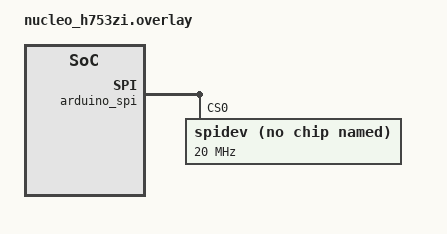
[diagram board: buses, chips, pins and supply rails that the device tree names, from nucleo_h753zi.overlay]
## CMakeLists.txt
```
# CMakeLists.txt for stm32h753zi_stepper Zephyr application
cmake_minimum_required(VERSION 3.20.0)

# Add both device tree overlay files for the build
set(DTC_OVERLAY_FILE 
    ${CMAKE_CURRENT_SOURCE_DIR}/nucleo_h753zi.overlay 
    ${CMAKE_CURRENT_SOURCE_DIR}/fstab.overlay
)

find_package(Zephyr REQUIRED HINTS $ENV{ZEPHYR_BASE})
project(stm32h753zi_stepper)

zephyr_include_directories(${CMAKE_CURRENT_SOURCE_DIR})
zephyr_link_libraries_ifdef(CONFIG_STEPPER_STATUS_POLL app)
find_program(PYTHON3_EXECUTABLE python3)
if(NOT PYTHON3_EXECUTABLE)
	message(FATAL_ERROR "python3 not found")
endif()

set(STEPPER_YML ${CMAKE_SOURCE_DIR}/stepper_models.yml)
# Validate YAML before code generation
add_custom_command(
	OUTPUT ${CMAKE_SOURCE_DIR}/build/generated/.models_valid
	COMMAND ${PYTHON3_EXECUTABLE} ${CMAKE_SOURCE_DIR}/scripts/validate_stepper_models.py ${STEPPER_YML}
	COMMAND ${CMAKE_COMMAND} -E touch ${CMAKE_SOURCE_DIR}/build/generated/.models_valid
	DEPENDS ${STEPPER_YML} ${CMAKE_SOURCE_DIR}/scripts/validate_stepper_models.py
	COMMENT "Validating stepper models YAML"
)
# Place generated files in the app-local build directory so unit/test builds
# and top-level builds both find the file at: <app-root>/build/generated
set(STEPPER_OUT ${CMAKE_SOURCE_DIR}/build/generated/stepper_models_autogen.h)
file(MAKE_DIRECTORY ${CMAKE_SOURCE_DIR}/build/generated)
add_custom_command(
		OUTPUT ${STEPPER_OUT}
		COMMAND ${PYTHON3_EXECUTABLE} ${CMAKE_SOURCE_DIR}/scripts/gen_stepper_models.py ${STEPPER_YML} ${STEPPER_OUT}
		DEPENDS ${CMAKE_SOURCE_DIR}/build/generated/.models_valid ${STEPPER_YML} ${CMAKE_SOURCE_DIR}/scripts/gen_stepper_models.py
		COMMENT "Generating stepper models header"
)
target_include_directories(app PRIVATE ${CMAKE_SOURCE_DIR}/build/generated)

target_sources(app PRIVATE
		src/main.c
		src/l6470.c
		src/shell_stepper.c
		src/persist.c
		src/stepper_models.c
		$<$<BOOL:${CONFIG_STEPPER_STATUS_POLL}>:${CMAKE_CURRENT_SOURCE_DIR}/src/status_poll.c>
		${STEPPER_OUT}
)
```

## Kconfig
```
# Kconfig options for stm32h753zi_stepper application

# Always include Zephyr's global Kconfig so standard symbols are available
source "Kconfig.zephyr"

menu "STM32H753ZI Stepper App"

config STEPPER_STATUS_POLL
    bool "Enable periodic L6470 status polling"
    default n
    help
      When enabled, starts a background worker that polls GET_STATUS from
      each L6470 device at a fixed interval and keeps a small ring buffer
      of the last samples for diagnostics.

config STEPPER_STATUS_POLL_PERIOD_MS
    int "Status poll period (ms)"
    depends on STEPPER_STATUS_POLL
    range 50 5000
    default 200
    help
      Period in milliseconds for the status polling worker.

endmenu
```

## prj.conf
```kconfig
CONFIG_DEBUG_THREAD_INFO=y
CONFIG_THREAD_NAME=y
CONFIG_DEBUG_OPTIMIZATIONS=y
CONFIG_THREAD_STACK_INFO=y
CONFIG_INIT_STACKS=y
CONFIG_USE_SEGGER_RTT=y
CONFIG_LOG_BACKEND_RTT=y
CONFIG_LOG_BACKEND_UART=y
CONFIG_LOG=y
CONFIG_LOG_MODE_DEFERRED=n
CONFIG_LOG_DEFAULT_LEVEL=2
CONFIG_ASSERT=y
CONFIG_DEBUG=y
# Increase main stack; LittleFS format/mount and logging can be deep on H7
CONFIG_MAIN_STACK_SIZE=16384
CONFIG_SERIAL=y
CONFIG_UART_CONSOLE=y
CONFIG_CONSOLE=y
CONFIG_UART_INTERRUPT_DRIVEN=y
CONFIG_PRINTK=y
CONFIG_STDOUT_CONSOLE=y
CONFIG_LOG=y
CONFIG_LOG_DEFAULT_LEVEL=3
CONFIG_SHELL=y
CONFIG_SHELL_BACKEND_SERIAL=y
# Net shell & stats for runtime inspection
CONFIG_NET_SHELL=y
CONFIG_NET_STATISTICS=y
# Networking core
CONFIG_NETWORKING=y
CONFIG_NET_IPV4=y
CONFIG_NET_IPV6=n
CONFIG_NET_UDP=y
CONFIG_NET_TCP=y
CONFIG_NET_DHCPV4=y

# Ethernet driver for STM32
CONFIG_NET_L2_ETHERNET=y
CONFIG_ETH_STM32_HAL=y

# Extra DHCP/NET debug (optional, harmless if optimized out by level)
# CONFIG_NET_DHCPV4_LOG_LEVEL_DBG=y
# CONFIG_NET_LOG_LEVEL_DBG=y

# Memory management
CONFIG_NET_BUF=y
CONFIG_HEAP_MEM_POOL_SIZE=16384
CONFIG_SYS_HEAP_RUNTIME_STATS=y

# Increase critical stack sizes (formatting FS, shell, workqueue can be deep)
CONFIG_MAIN_STACK_SIZE=8192
CONFIG_SHELL_STACK_SIZE=4096
CONFIG_SYSTEM_WORKQUEUE_STACK_SIZE=4096

# Logging for debugging
CONFIG_NET_LOG=y
CONFIG_ETHERNET_LOG_LEVEL_DBG=y

# POSIX socket API support
CONFIG_NET_SOCKETS=y

# GPIO support for LED
CONFIG_GPIO=y

# SPI bus for IHM02A1 (SPI1 on Arduino header)
CONFIG_SPI=y

# Settings backend for on-target persistence of selected model
CONFIG_SETTINGS=y
CONFIG_SETTINGS_FILE=y
# Store settings in LittleFS under storage partition
CONFIG_SETTINGS_FILE_PATH="/lfs/settings/run"
# Disable NVS backend on STM32H7 (128KB erase pages exceed NVS limits)
# to avoid initialization failures in settings_nvs
# (can be re-enabled on targets with <=64KB page size)
CONFIG_SETTINGS_NVS=n
CONFIG_NVS=n
CONFIG_FLASH=y
CONFIG_FLASH_PAGE_LAYOUT=y
CONFIG_FLASH_MAP=y
CONFIG_FLASH_MAP_LABELS=y

# LittleFS persistence (use FMP backend on fixed partition 'storage')
CONFIG_FILE_SYSTEM=y
CONFIG_FILE_SYSTEM_LITTLEFS=y
CONFIG_FS_LITTLEFS_FMP_DEV=y
# Enable mkfs syscall in the app link
CONFIG_APP_LINK_WITH_FS=y
CONFIG_FILE_SYSTEM_MKFS=y
CONFIG_FS_LITTLEFS_READ_SIZE=32
CONFIG_FS_LITTLEFS_PROG_SIZE=32
CONFIG_FS_LITTLEFS_CACHE_SIZE=1024
CONFIG_FS_LITTLEFS_LOOKAHEAD_SIZE=32
# Allow flexible per-file cache sizes when using custom FS config
CONFIG_FS_LITTLEFS_FC_HEAP_SIZE=16384
CONFIG_FS_LOG_LEVEL_OFF=y

# Bump shell and system workqueue stacks to better tolerate FS/logging bursts
CONFIG_SHELL_STACK_SIZE=4096
CONFIG_SYSTEM_WORKQUEUE_STACK_SIZE=4096


# --- Memory diagnostics and safer stacks ---
# Enable system heap runtime statistics (exposes 'kernel heap' shell cmd)
CONFIG_SYS_HEAP_RUNTIME_STATS=y
# Track/measure stack usage and enable k_thread_stack_space_get
CONFIG_INIT_STACKS=y
CONFIG_THREAD_STACK_INFO=y
# Increase critical stacks to prevent overflow during FS format and net init
CONFIG_MAIN_STACK_SIZE=4096
CONFIG_SYSTEM_WORKQUEUE_STACK_SIZE=2048
CONFIG_SHELL_STACK_SIZE=3072
# Allow software reset from application (B1 mapping)
CONFIG_REBOOT=y


# Network management for DHCP events
CONFIG_NET_MGMT=y
CONFIG_NET_MGMT_EVENT=y

# Example: enable the shield Kconfig option (optional helper).
# CONFIG_SHIELD_X_NUCLEO_IHM02A1=y
```

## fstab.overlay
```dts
/* Define LittleFS in fstab but disable automount (manual mounting in persist.c) */

/ {
    zephyr,fstab {
        compatible = "zephyr,fstab";

        lfs {
            compatible = "zephyr,fstab,littlefs";
            mount-point = "/lfs";
            partition = <&app_storage>;
            /* LittleFS geometry (aligned to STM32H7 requirements) */
            read-size = <32>;
            prog-size = <32>;
            cache-size = <1024>;
            /* Lookahead must be a multiple of 8; 32 tracks 256 blocks */
            lookahead-size = <32>;
            /* Wear leveling cycles; -1 disables. Use a typical value. */
            block-cycles = <512>;
            /* Disable automount - we handle mounting manually in persist.c */
            /* automount; */
        };
    };
};
```

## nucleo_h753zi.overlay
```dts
// Device tree overlay for STM32H753ZI stepper application
// The board default configuration already uses USART3 (PD8/PD9) for console
// which is connected to ST-LINK VCP, so no changes needed

/ {
    // No changes needed - using board defaults
};

/* Inline X-NUCLEO-IHM02A1 wiring for SPI1 and control GPIOs */
&arduino_spi {
    status = "okay";
    spidev: spi-device@0 {
        compatible = "zephyr,spidev";
        reg = <0>;
        spi-max-frequency = <20000000>;
        cs-gpios = <&gpiod 14 GPIO_ACTIVE_LOW>;
        status = "okay";
    };
};

/ {
    ihm02a1_cs: ihm02a1-cs {
        gpios = <&gpiod 14 GPIO_ACTIVE_LOW>; /* D10: PD14 */
        status = "okay";
    };
    ihm02a1_flag: ihm02a1-flag {
        gpios = <&gpiog 14 GPIO_ACTIVE_LOW>;  /* D2: PG14 */
        status = "okay";
    };
    ihm02a1_busy: ihm02a1-busy {
        gpios = <&gpioe 13 GPIO_ACTIVE_HIGH>; /* D3: PE13 */
        status = "okay";
    };
    ihm02a1_reset: ihm02a1-reset {
        gpios = <&gpioe 14 GPIO_ACTIVE_LOW>; /* D4: PE14 */
        status = "okay";
    };
};

/*
 * Define an application-specific storage partition placed high in flash.
 * Rationale:
 * - The board's default "storage" partition sits at 0x00020000 (128KB),
 *   which overlaps with our application image when booting from 0x08000000.
 * - LittleFS also requires at least two erase blocks; STM32H7 erase block
 *   is 128KB, so we allocate 256KB (2 blocks) for the FS.
 * - This keeps persistence safe from firmware writes.
 */
&flash0 {
    partitions {
        /* Place app_storage within Bank 0 at 512KB offset
         * to ensure compatibility (Bank 1 may have access restrictions) */
        app_storage: partition@80000 {
            label = "app-storage";
            reg = <0x00080000 0x00080000>; /* 512KB at 0x0008_0000 */
        };
    };
};
```

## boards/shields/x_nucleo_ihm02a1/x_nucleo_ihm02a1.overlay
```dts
/* Local shield overlay for X-NUCLEO-IHM02A1 (L6470 dSPIN, 2x stepper).
 *
 * Wiring (Arduino R3 on Nucleo-H753ZI):
 *   - SPI1: SCK=D13 (PA5), MISO=D12 (PA6), MOSI=D11 (PB5), CS=D10 (PD14)
 *   - FLAG:    D2  (PG14) active low (input)
 *   - BUSY:    D3  (PE13) active high (input)  [BUSY/SYNC]
 *   - STBY/RESET: D4 (PE14) active low (output)
 */

/ {
    chosen {
        /* Keep the board's default console */
        zephyr,console = &usart3;
    };
};

/* The nucleo_h753zi board exposes Arduino aliases:
 *   &arduino_spi -> SPI1 (SCK=D13/PA5, MISO=D12/PA6, MOSI=D11/PB5)
 *   &arduino_header -> GPIO map where D10 is index 16 (PD14)
 */
&arduino_spi {
    status = "okay";
    spidev: spi-device@0 {
        compatible = "zephyr,spidev";
        reg = <0>;
    /* Set for real-time motion control: 20 MHz (L6470 supports up to 10+ MHz, STM32H7 supports much higher). */
    spi-max-frequency = <20000000>;
    /* Provide CS on Arduino D10 (PD14) so the SPI driver can toggle it */
    cs-gpios = <&gpiod 14 GPIO_ACTIVE_LOW>;
        /* If needed after validation, set SPI mode:
         *   spi-cpol; spi-cpha;  // for MODE3
         */
        status = "okay";
    };
};

/* Expose control pins via simple nodes with a 'gpios' property, so the
 * application can fetch them using GPIO_DT_SPEC_GET(DT_NODELABEL(...), gpios)
 */

/ {
    /* Explicit Arduino header pin mappings used by the shield
     * D10: CS  -> PD14
     * D11: MOSI-> PB5  (provided via &arduino_spi)
     * D12: MISO-> PA6  (provided via &arduino_spi)
     * D13: SCK -> PA5  (provided via &arduino_spi)
     */

    ihm02a1_cs: ihm02a1-cs {
        gpios = <&gpiod 14 GPIO_ACTIVE_LOW>; /* D10: PD14 */
        status = "okay";
    };

    ihm02a1_flag: ihm02a1-flag {
        gpios = <&gpiog 14 GPIO_ACTIVE_LOW>;  /* D2: PG14 */
        status = "okay";
    };

    ihm02a1_busy: ihm02a1-busy {
        gpios = <&gpioe 13 GPIO_ACTIVE_HIGH>; /* D3: PE13 */
        status = "okay";
    };

    ihm02a1_reset: ihm02a1-reset {
        gpios = <&gpioe 14 GPIO_ACTIVE_LOW>; /* D4: PE14 */
        status = "okay";
    };

    /* If you prefer, use the `ihm02a1-cs` node above to control a per-device
     * chip-select on D10 (PD14). The node above is active-low.
     */

    /* Note: according to ST UM1964 the shield's VMOT (motor supply) is fed
     * from the shield's external power connector and is not switched by
     * any Arduino header pin. There is no FET/switch on the reference PCB
     * tied to an Arduino GPIO to cut VMOT. If you need programmatic
     * control of VMOT, add an external high-side/low-side switch controlled
     * by a GPIO on the Nucleo and wire that into the shield's VMOT feed.
     */
};
```

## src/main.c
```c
#include <zephyr/net/socket.h>
#include <zephyr/net/net_if.h>
#include <zephyr/net/net_mgmt.h>
#include <zephyr/net/dhcpv4.h>
#include <zephyr/net/ethernet.h>
#include <zephyr/logging/log.h>
#include <zephyr/sys/printk.h>
#include <zephyr/sys/__assert.h>
#include <zephyr/drivers/gpio.h>
#include <zephyr/kernel.h>
#include <zephyr/version.h>
#include <zephyr/drivers/spi.h>
#include "l6470.h"
#include <string.h>
#include "persist.h"

LOG_MODULE_REGISTER(main, LOG_LEVEL_DBG);

#define TCP_PORT 4242
#define STACK_SIZE 2048
#define BUF_SIZE 128

/* SPI frequency for L6470: choose a value supported by STM32H7 SPI and
 * within L6470 datasheet limits. 5 MHz is safe and above the H7 minimum
 * (1.875 MHz), providing good real-time control margin.
 */
#define L6470_SPI_FREQ_HZ 5000000U

// LD1 (Green LED) - typically aliased as led0 in the device tree overlay
#define LED0_NODE DT_ALIAS(led0)
static const struct gpio_dt_spec led = GPIO_DT_SPEC_GET(LED0_NODE, gpios);

/* IHM02A1 control pins (Arduino D2/D3/D4 mapped on this board):
 *  - FLAG:  PG14, active low, input
 *  - BUSY:  PE13, active high, input
 *  - RESET: PE14, active low, output
 */
#if DT_NODE_EXISTS(DT_NODELABEL(gpiog))
#define IHM_FLAG_PORT_NODE   DT_NODELABEL(gpiog)
#define IHM_FLAG_PIN         14
#else
#define IHM_FLAG_PORT_NODE   DT_NODELABEL(gpio0)
#define IHM_FLAG_PIN         0
#endif

#if DT_NODE_EXISTS(DT_NODELABEL(gpioe))
#define IHM_BUSY_PORT_NODE   DT_NODELABEL(gpioe)
#define IHM_BUSY_PIN         13
#define IHM_RESET_PORT_NODE  DT_NODELABEL(gpioe)
#define IHM_RESET_PIN        14
#else
#define IHM_BUSY_PORT_NODE   DT_NODELABEL(gpio0)
#define IHM_BUSY_PIN         1
#define IHM_RESET_PORT_NODE  DT_NODELABEL(gpio0)
#define IHM_RESET_PIN        2
#endif

void heartbeat_thread(void)
{
    static uint32_t heartbeat_count = 0;
    
    if (!device_is_ready(led.port)) {
        printk("ERROR: LED device not ready\n");
        LOG_ERR("LED device not ready");
        return;
    }
    gpio_pin_configure_dt(&led, GPIO_OUTPUT_ACTIVE);
    
    printk("=== LED Heartbeat thread started ===\n");
    LOG_INF("LED heartbeat started");

    while (1) {
        gpio_pin_toggle_dt(&led);
        heartbeat_count++;
        
        // Print heartbeat status every 10 seconds (20 toggles)
        if (heartbeat_count % 20 == 0) {
            printk("Heartbeat: %u (LED toggled %u times)\n", 
                   heartbeat_count / 2, heartbeat_count);
            LOG_DBG("Heartbeat count: %u", heartbeat_count);
        }
        
        k_sleep(K_MSEC(500));
    }
}

K_THREAD_DEFINE(heartbeat_tid, 512, heartbeat_thread, NULL, NULL, NULL, 7, 0, 0);

/* Status poll thread: polls both L6470 devices every 2 seconds and logs decoded status */
void status_poll_thread(void)
{
    uint16_t statuses[L6470_DAISY_SIZE];
    while (1) {
    if (l6470_is_ready() && l6470_get_status_all(statuses) == 0) {
            char s0[64];
            char s1[64];
            strncpy(s0, l6470_decode_status(statuses[0]), sizeof(s0));
            s0[sizeof(s0)-1] = '\0';
            strncpy(s1, l6470_decode_status(statuses[1]), sizeof(s1));
            s1[sizeof(s1)-1] = '\0';
            printk("[L6470 Poll] dev0=%s dev1=%s\n", s0, s1);
            LOG_INF("L6470 poll: dev0=0x%04x dev1=0x%04x", statuses[0], statuses[1]);
        } else {
            LOG_WRN("L6470 poll failed");
        }
        k_sleep(K_SECONDS(2));
    }
}

K_THREAD_DEFINE(status_poll_tid, 768, status_poll_thread, NULL, NULL, NULL, 6, 0, 0);

static struct net_mgmt_event_callback mgmt_cb;
static struct net_mgmt_event_callback link_cb;

static void net_mgmt_event_handler(struct net_mgmt_event_callback *cb,
                                   uint64_t mgmt_event, struct net_if *iface)
{
    if (mgmt_event == NET_EVENT_IPV4_ADDR_ADD) {
        char buf[NET_IPV4_ADDR_LEN];
        struct in_addr *addr = net_if_ipv4_get_global_addr(iface, NET_ADDR_DHCP);
        
        if (addr) {
            net_addr_ntop(AF_INET, addr, buf, sizeof(buf));
            printk("*** Network interface UP - IPv4 address: %s ***\n", buf);
            LOG_INF("IPv4 address assigned: %s", buf);
        }
    } else if (mgmt_event == NET_EVENT_IPV4_ADDR_DEL) {
        printk("*** Network interface DOWN - IPv4 address removed ***\n");
        LOG_INF("IPv4 address removed");
    }
}

static void link_event_handler(struct net_mgmt_event_callback *cb,
                               uint64_t mgmt_event, struct net_if *iface)
{
    if (mgmt_event == NET_EVENT_IF_UP) {
        printk("*** Interface UP (carrier present) ***\n");
        LOG_INF("Interface up");
    } else if (mgmt_event == NET_EVENT_IF_DOWN) {
        printk("*** Interface DOWN (carrier lost) ***\n");
        LOG_WRN("Interface down");
    }
}

static void wait_for_network(void)
{
    struct net_if *iface;
    int timeout = 30; // 30 seconds timeout
    
    printk("=== Initializing Network Interface ===\n");
    
    iface = net_if_get_default();
    if (!iface) {
        printk("ERROR: No network interface available\n");
        LOG_ERR("No network interface available");
        return;
    }
    
    net_mgmt_init_event_callback(&mgmt_cb, net_mgmt_event_handler,
                                 NET_EVENT_IPV4_ADDR_ADD | NET_EVENT_IPV4_ADDR_DEL);
    net_mgmt_add_event_callback(&mgmt_cb);

    /* Monitor interface up/down so we know if the link is up */
    net_mgmt_init_event_callback(&link_cb, link_event_handler,
                                 NET_EVENT_IF_UP | NET_EVENT_IF_DOWN);
    net_mgmt_add_event_callback(&link_cb);
    
    /* Print interface MAC and link state */
    uint8_t mac[6];
    const struct net_linkaddr *ll = net_if_get_link_addr(iface);
    if (ll && ll->len >= 6U) {
        memcpy(mac, ll->addr, 6U);
        printk("Interface MAC: %02x:%02x:%02x:%02x:%02x:%02x\n",
               mac[0], mac[1], mac[2], mac[3], mac[4], mac[5]);
    }
    bool link_up = net_if_is_carrier_ok(iface);
    printk("Ethernet link state: %s\n", link_up ? "UP" : "DOWN");

    /* Make sure the interface is up before starting DHCP */
    if (!net_if_is_up(iface)) {
        printk("Bringing interface up...\n");
        net_if_up(iface);
    }

    printk("Starting DHCP client...\n");
    net_dhcpv4_start(iface);
    
    printk("Waiting for IP address assignment (timeout: %d seconds)...\n", timeout);
    
    while (timeout > 0 && !net_if_ipv4_get_global_addr(iface, NET_ADDR_DHCP)) {
        k_sleep(K_MSEC(1000));
        timeout--;
        if (timeout % 5 == 0) {
            printk("Still waiting for IP address... (%d seconds remaining)\n", timeout);
        }
    }
    
    if (timeout <= 0) {
        printk("WARNING: DHCP timeout - continuing without IP address\n");
        LOG_WRN("DHCP timeout");
    }
}

int main(void)
{
    int ret, server_fd, client_fd;
    struct sockaddr_in addr, client_addr;
    socklen_t addr_len = sizeof(client_addr);
    char rx_buf[BUF_SIZE];

    printk("\n=== STM32H753ZI Zephyr Application Starting ===\n");
    printk("Features: TCP Echo Server, LED Heartbeat, VCP Serial\n");
    printk("Board: Nucleo-H753ZI, Zephyr RTOS\n");
    
    LOG_INF("Application startup complete");

    /* Initialize persistence (LittleFS) */
    int prc = persistence_init();
    if (prc == 0) {
        printk("persistence: initialized OK\n");
        /* quick self-check */
        const char *test_path = "/lfs/persist_test.txt";
        const char test_data[] = "hello-persist";
        size_t out_len = 0;
        if (persistence_write_value(test_path, test_data, sizeof(test_data)) == 0) {
            char buf[32];
            if (persistence_read_value(test_path, buf, sizeof(buf), &out_len) == 0) {
                printk("persistence: read %u bytes: %s\n", (unsigned)out_len, buf);
            } else {
                printk("persistence: read failed\n");
            }
        } else {
            printk("persistence: write failed\n");
        }
    } else {
        printk("persistence: init returned %d\n", prc);
    }

    /* Configure control pins: reset as output, busy/flag as inputs */
    const struct device *gpio_g = NULL;
    const struct device *gpio_e = NULL;
#if DT_NODE_EXISTS(IHM_FLAG_PORT_NODE)
    gpio_g = DEVICE_DT_GET(IHM_FLAG_PORT_NODE);
#endif
#if DT_NODE_EXISTS(IHM_BUSY_PORT_NODE)
    gpio_e = DEVICE_DT_GET(IHM_BUSY_PORT_NODE);
#endif
    if (gpio_e && device_is_ready(gpio_e)) {
        gpio_pin_configure(gpio_e, IHM_RESET_PIN, GPIO_OUTPUT_ACTIVE);
        /* Deassert reset after short delay (active low) */
        k_sleep(K_MSEC(5));
        gpio_pin_set(gpio_e, IHM_RESET_PIN, 1);
        gpio_pin_configure(gpio_e, IHM_BUSY_PIN, GPIO_INPUT);
    }
    if (gpio_g && device_is_ready(gpio_g)) {
        gpio_pin_configure(gpio_g, IHM_FLAG_PIN, GPIO_INPUT);
    }
    
    /* Configure SPI for L6470 daisy-chain */
#if DT_NODE_EXISTS(DT_NODELABEL(spi1))
    const struct device *spi_ctlr = NULL;
#if DT_NODE_EXISTS(DT_NODELABEL(spi1))
    spi_ctlr = DEVICE_DT_GET(DT_NODELABEL(spi1));
#endif
    if (!spi_ctlr || !device_is_ready(spi_ctlr)) {
        LOG_WRN("SPI controller not ready (spi1)");
    } else {
        struct spi_cs_control cs_ctrl = SPI_CS_CONTROL_INIT(DT_NODELABEL(spidev), 2);
        struct spi_config cfg = {
            .frequency = L6470_SPI_FREQ_HZ,
            /* L6470 (dSPIN) uses SPI mode 3 (CPOL=1, CPHA=1) */
            .operation = SPI_OP_MODE_MASTER | SPI_TRANSFER_MSB |
                         SPI_MODE_CPOL | SPI_MODE_CPHA |
                         SPI_WORD_SET(8),
            .slave = 0,
            .cs = cs_ctrl,
        };
        /* Initialize L6470 helper for daisy-chain (2 devices) */
    ret = l6470_init(spi_ctlr, &cfg);
        if (ret == 0) {
            /* Issue a proper reset pulse (active-low) to both drivers */
            (void)l6470_reset_pulse();
            k_sleep(K_MSEC(5));
            uint16_t statuses[2] = {0};
            int sret = l6470_get_status_all(statuses);
            if (sret == 0) {
                printk("L6470 statuses: dev0=0x%04x dev1=0x%04x\n", statuses[0], statuses[1]);
                LOG_INF("L6470 statuses: dev0=0x%04x dev1=0x%04x", statuses[0], statuses[1]);
            } else {
                LOG_WRN("Failed to get daisy-chain statuses: %d", sret);
            }
        } else {
            LOG_WRN("l6470_init failed: %d", ret);
        }
    }
#else
    LOG_WRN("spi1 node not present in DT for this board; skipping L6470 init");
#endif
/* removed stray brace */

    /* Status poll thread is defined at file scope */

    // Wait for network to be ready
    wait_for_network();
    
    printk("\n=== Starting TCP Echo Server on port %d ===\n", TCP_PORT);
    LOG_INF("TCP echo server starting on port %d", TCP_PORT);

    server_fd = zsock_socket(AF_INET, SOCK_STREAM, IPPROTO_TCP);
    if (server_fd < 0) {
        printk("ERROR: Failed to create socket: %d\n", server_fd);
        LOG_ERR("Failed to create socket: %d", server_fd);
        return -1;
    }
    printk("Socket created successfully (fd: %d)\n", server_fd);

    addr.sin_family = AF_INET;
    addr.sin_port = htons(TCP_PORT);
    addr.sin_addr.s_addr = htonl(INADDR_ANY);

    ret = zsock_bind(server_fd, (struct sockaddr *)&addr, sizeof(addr));
    if (ret < 0) {
        printk("ERROR: Bind failed: %d\n", ret);
        LOG_ERR("Bind failed: %d", ret);
        zsock_close(server_fd);
        return -1;
    }
    printk("Socket bound to port %d\n", TCP_PORT);

    ret = zsock_listen(server_fd, 1);
    if (ret < 0) {
        printk("ERROR: Listen failed: %d\n", ret);
        LOG_ERR("Listen failed: %d", ret);
        zsock_close(server_fd);
        return -1;
    }
    printk("Server listening for connections...\n");
    LOG_INF("TCP server ready - waiting for clients");

    while (1) {
        printk("\n--- Waiting for client connection ---\n");
        client_fd = zsock_accept(server_fd, (struct sockaddr *)&client_addr, &addr_len);
        if (client_fd < 0) {
            printk("ERROR: Accept failed: %d\n", client_fd);
            LOG_ERR("Accept failed: %d", client_fd);
            continue;
        }
        
        char client_ip[NET_IPV4_ADDR_LEN];
        net_addr_ntop(AF_INET, &client_addr.sin_addr, client_ip, sizeof(client_ip));
        printk("*** CLIENT CONNECTED from %s:%d ***\n", 
               client_ip, ntohs(client_addr.sin_port));
        LOG_INF("Client connected from %s:%d", client_ip, ntohs(client_addr.sin_port));

        while (1) {
            ret = zsock_recv(client_fd, rx_buf, sizeof(rx_buf), 0);
            if (ret < 0) {
                printk("ERROR: Recv failed: %d\n", ret);
                LOG_ERR("Recv failed: %d", ret);
                break;
            } else if (ret == 0) {
                printk("*** CLIENT DISCONNECTED ***\n");
                LOG_INF("Client disconnected");
                break;
            }
            
            rx_buf[ret] = '\0'; // Null terminate for safe printing
            printk("RX[%d bytes]: %s", ret, rx_buf);
            LOG_DBG("Received %d bytes: %s", ret, rx_buf);

            int sent = zsock_send(client_fd, rx_buf, ret, 0);
            if (sent < 0) {
                printk("ERROR: Send failed: %d\n", sent);
                LOG_ERR("Send failed: %d", sent);
                break;
            }
            printk("TX[%d bytes]: Echo sent\n", sent);
            __ASSERT(sent == ret, "Partial send");
        }
        zsock_close(client_fd);
    }
    zsock_close(server_fd);
    return 0;
}
```

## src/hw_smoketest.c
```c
/* Hardware smoke-test CLI: safe VMOT toggle and status via Zephyr shell
 * Commands:
 *   vmot on
 *   vmot off
 *   vmot toggle
 *   vmot status
 */
#include <zephyr/shell/shell.h>
#include <zephyr/logging/log.h>
#include <zephyr/drivers/gpio.h>
#include <zephyr/devicetree.h>
#include <zephyr/kernel.h>

LOG_MODULE_REGISTER(hw_smoke, LOG_LEVEL_INF);

#define IHM_VMOT_NODE DT_NODELABEL(ihm02a1_vmot_switch)
#if DT_NODE_EXISTS(IHM_VMOT_NODE)
static const struct gpio_dt_spec vmot_spec = GPIO_DT_SPEC_GET(IHM_VMOT_NODE, gpios);
#else
static const struct gpio_dt_spec vmot_spec = { .port = NULL };
#endif

static int cmd_vmot(const struct shell *sh, size_t argc, char **argv)
{
    if (vmot_spec.port == NULL) {
        shell_print(sh, "VMOT control not available in device-tree");
        return -ENOTSUP;
    }
    if (!device_is_ready(vmot_spec.port)) {
        shell_print(sh, "VMOT GPIO not ready");
        return -ENODEV;
    }

    if (argc < 2) {
        shell_print(sh, "usage: vmot <on|off|toggle|status>");
        return -EINVAL;
    }

    if (strcmp(argv[1], "on") == 0) {
        gpio_pin_configure_dt(&vmot_spec, GPIO_OUTPUT_ACTIVE);
        gpio_pin_set_dt(&vmot_spec, 1);
        shell_print(sh, "VMOT enabled");
        return 0;
    } else if (strcmp(argv[1], "off") == 0) {
        gpio_pin_configure_dt(&vmot_spec, GPIO_OUTPUT_ACTIVE);
        gpio_pin_set_dt(&vmot_spec, 0);
        shell_print(sh, "VMOT disabled");
        return 0;
    } else if (strcmp(argv[1], "toggle") == 0) {
        static bool state = false;
        gpio_pin_configure_dt(&vmot_spec, GPIO_OUTPUT_ACTIVE);
        state = !state;
        gpio_pin_set_dt(&vmot_spec, state ? 1 : 0);
        shell_print(sh, "VMOT toggled -> %s", state ? "ON" : "OFF");
        return 0;
    } else if (strcmp(argv[1], "status") == 0) {
        int v = gpio_pin_get_dt(&vmot_spec);
        if (v < 0) {
            shell_print(sh, "VMOT read failed: %d", v);
            return v;
        }
        shell_print(sh, "VMOT is %s", v ? "ON" : "OFF");
        return 0;
    }

    shell_print(sh, "Unknown vmot command: %s", argv[1]);
    return -EINVAL;
}

SHELL_CMD_REGISTER(vmot, NULL, "VMOT control (on|off|toggle|status)", cmd_vmot);
```

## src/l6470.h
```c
/* Minimal L6470 helper for daisy-chain operations (supports 2 devices) */
#ifndef L6470_H_
#define L6470_H_

#include <zephyr/drivers/spi.h>
#include <stdint.h>
#include <stdbool.h>
#include "stepper_models.h"

#define L6470_DAISY_SIZE 2
#define L6470_GET_STATUS 0xD0

/* Frame size used by the driver and tests (opcode + up to 3 parameter bytes) */
#define L6470_FRAME_SIZE 4

/* Common opcodes moved to header so unit tests can reference them */
#define L6470_NOP      0x00
#define L6470_MOVE     0x40
#define L6470_RUN      0x50
#define L6470_SOFTSTOP 0xB0
#define L6470_HARDSTOP 0xB8
#define L6470_SOFTHIZ  0xA0
#define L6470_HARDHIZ  0xA8
/* Positioning and utility opcodes (subset) */
#define L6470_GOTO     0x60    /* GOTO ABS_POS */
#define L6470_GOTO_DIR 0x68    /* GOTO_DIR | dir */
#define L6470_GO_HOME  0x70
#define L6470_GO_MARK  0x78
#define L6470_RESET_POS 0xD8   /* Reset ABS_POS to 0 */
#define L6470_GET_PARAM_BASE 0x20 /* GET_PARAM | param_addr */
#define L6470_GET_PARAM_OP(addr) (uint8_t)(L6470_GET_PARAM_BASE | ((addr) & 0x1F))
#if defined(CONFIG_ZTEST)
/* Test helpers: allow unit tests to substitute a fake spi_transceive and
 * to force the driver into ready state without a real SPI device.
 */
typedef int (*l6470_spi_xfer_t)(const struct device *dev, const struct spi_config *cfg,
								const struct spi_buf_set *tx, struct spi_buf_set *rx);
void l6470_set_spi_xfer(l6470_spi_xfer_t fn);
void l6470_test_force_ready(void);
void l6470_set_power_enabled(bool en);
#endif

/* Common SET_PARAM register opcodes for configuration (subset) */
#define L6470_SET_PARAM_STEP_MODE 0x16
#define L6470_SET_PARAM_KVAL_HOLD 0x09
#define L6470_SET_PARAM_KVAL_RUN  0x0A
#define L6470_SET_PARAM_KVAL_ACC  0x0B
#define L6470_SET_PARAM_KVAL_DEC  0x0C
#define L6470_SET_PARAM_OCD_TH    0x13
#define L6470_SET_PARAM_ACC       0x05 /* 2 bytes */
#define L6470_SET_PARAM_DEC       0x06 /* 2 bytes */
#define L6470_SET_PARAM_MAX_SPEED 0x07 /* 2 bytes */
#define L6470_SET_PARAM_STALL_TH  0x14 /* 1 byte */
/* Parameter addresses for GET_PARAM (subset) */
#define L6470_PARAM_ABS_POS  0x01 /* 22-bit signed */
#define L6470_PARAM_MARK     0x03 /* 22-bit signed */

int l6470_init(const struct device *spi_dev, struct spi_config *cfg);
int l6470_get_status_all(uint16_t status_out[L6470_DAISY_SIZE]);
const char *l6470_decode_status(uint16_t status);
bool l6470_is_ready(void);
/* Hardware reset pulse using RESET GPIO from the shield overlay.
 * Returns 0 on success or negative errno.
 */
int l6470_reset_pulse(void);

/* Motion command stubs - not fully implemented yet. Return -ENOSYS.
 * Device index is 0..L6470_DAISY_SIZE-1.
 */
int l6470_run(uint8_t dev, uint8_t dir, uint32_t speed);
int l6470_move(uint8_t dev, uint8_t dir, uint32_t steps);
/* Absolute positioning helpers (fast wins) */
int l6470_goto(uint8_t dev, uint32_t abs_pos);
int l6470_goto_dir(uint8_t dev, uint8_t dir, uint32_t abs_pos);
int l6470_go_home(uint8_t dev);
int l6470_reset_pos(uint8_t dev);
int l6470_get_abs_pos(uint8_t dev, int32_t *out_pos);
/* Stop/Busy helpers */
int l6470_softstop(uint8_t dev);
int l6470_hardstop(uint8_t dev);
int l6470_is_busy(uint8_t dev, bool *out_busy);
int l6470_wait_while_busy(uint8_t dev, int32_t timeout_ms, int32_t poll_ms);

/* Motion arming / emergency stop */
void l6470_motion_set_armed(bool armed);
bool l6470_motion_is_armed(void);
int l6470_motion_estop(void);

/* Place outputs in Hi-Z: soft or hard. hard=true -> HARDHIZ, hard=false -> SOFTHIZ
 * Returns 0 on success.
 */
int l6470_disable_outputs(uint8_t dev, bool hard);

/* Verbose decoder writes a human-readable description of status into buf
 * Returns number of bytes written (excluding NUL) or negative on error.
 */
int l6470_decode_status_verbose(uint16_t status, char *buf, size_t len);

/* Safety limit accessors (values come from Kconfig defaults or board-specific config) */
uint32_t l6470_get_max_speed_steps_per_sec(void);
uint32_t l6470_get_max_current_ma(void);
uint32_t l6470_get_max_steps_per_command(void);
uint32_t l6470_get_max_microstep(void);
/* Apply a model's L6470 parameters safely to the given device index. */
int l6470_apply_model_params(uint8_t dev, const stepper_model_t *m);

/* Testable helper APIs (pure functions) to build and parse daisy-chain frames.
 * These are safe to call from unit tests and do not touch hardware.
 */
void l6470_pack_run_frames(uint8_t dev, uint8_t dir, uint32_t speed,
						   uint8_t out[L6470_FRAME_SIZE * L6470_DAISY_SIZE]);
void l6470_pack_move_frames(uint8_t dev, uint8_t dir, uint32_t steps,
							uint8_t out[L6470_FRAME_SIZE * L6470_DAISY_SIZE]);
void l6470_pack_get_status_opcodes(uint8_t out[L6470_FRAME_SIZE * L6470_DAISY_SIZE]);
void l6470_parse_status_frames(const uint8_t rx[], uint16_t status_out[L6470_DAISY_SIZE]);

/* Power control for motor supply (enable/disable). Returns 0 on success. */
int l6470_power_enable(void);
int l6470_power_disable(void);
int l6470_power_status(void); /* returns 1 if enabled, 0 if disabled, negative on error */

#endif // L6470_H_
```

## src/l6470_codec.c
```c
#include "l6470_codec.h"
#include <string.h>

void pack_run_frame(uint8_t *tx, size_t tx_len, uint8_t dev, uint8_t dir, uint32_t speed)
{
    size_t frames = L6470_FRAME_SIZE * L6470_DAISY_SIZE;
    if (!tx || tx_len < frames) return;
    size_t base = dev * L6470_FRAME_SIZE;
    tx[base + 0] = L6470_RUN | (dir & 0x1);
    tx[base + 1] = (speed >> 16) & 0x0F;
    tx[base + 2] = (speed >> 8) & 0xFF;
    tx[base + 3] = speed & 0xFF;
}

void pack_move_frame(uint8_t *tx, size_t tx_len, uint8_t dev, uint8_t dir, uint32_t steps)
{
    size_t frames = L6470_FRAME_SIZE * L6470_DAISY_SIZE;
    if (!tx || tx_len < frames) return;
    size_t base = dev * L6470_FRAME_SIZE;
    tx[base + 0] = L6470_MOVE | (dir & 0x1);
    tx[base + 1] = (steps >> 16) & 0x03; /* top bits */
    tx[base + 2] = (steps >> 8) & 0xFF;
    tx[base + 3] = steps & 0xFF;
}

void build_get_status_tx(uint8_t *tx, size_t tx_len)
{
    size_t frames = L6470_FRAME_SIZE * L6470_DAISY_SIZE;
    if (!tx || tx_len < frames) return;
    memset(tx, 0, frames);
    for (int i = 0; i < L6470_DAISY_SIZE; i++) {
        tx[i * L6470_FRAME_SIZE + 0] = 0xD0; /* GET_STATUS opcode */
    }
}

uint16_t parse_status_from_rx(const uint8_t *rx, size_t rx_len, uint8_t dev)
{
    size_t frames = L6470_FRAME_SIZE * L6470_DAISY_SIZE;
    if (!rx || rx_len < frames) return 0;
    size_t base = dev * L6470_FRAME_SIZE;
    return ((uint16_t)rx[base + 1] << 8) | rx[base + 2];
}
```

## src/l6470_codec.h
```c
/* L6470 codec helpers: pure functions to pack RUN/MOVE frames and parse status
 * Designed for unit testing and simulation (no hardware access).
 */
#ifndef L6470_CODEC_H_
#define L6470_CODEC_H_

#include <stdint.h>
#include <stddef.h>

#define L6470_DAISY_SIZE 2
#define L6470_FRAME_SIZE 4

#define L6470_NOP      0x00
#define L6470_MOVE     0x40
#define L6470_RUN      0x50

/* Pack a RUN frame for device `dev` (0..L6470_DAISY_SIZE-1) into `tx` buffer
 * tx must be at least L6470_FRAME_SIZE * L6470_DAISY_SIZE bytes long; the
 * function will leave other device frames unchanged.
 */
void pack_run_frame(uint8_t *tx, size_t tx_len, uint8_t dev, uint8_t dir, uint32_t speed);

/* Pack a MOVE frame for device `dev` */
void pack_move_frame(uint8_t *tx, size_t tx_len, uint8_t dev, uint8_t dir, uint32_t steps);

/* Build a GET_STATUS opcode sequence (one opcode per device) into tx */
void build_get_status_tx(uint8_t *tx, size_t tx_len);

/* Parse a status word from rx buffer for device `dev`. Assumes a linear
 * frame layout where each device has L6470_FRAME_SIZE bytes and status
 * is located at offset +1..+2 inside its frame.
 */
uint16_t parse_status_from_rx(const uint8_t *rx, size_t rx_len, uint8_t dev);

#endif // L6470_CODEC_H_
```

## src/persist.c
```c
#include "persist.h"

#include <zephyr/settings/settings.h>
#include <zephyr/logging/log.h>
#include <zephyr/sys/printk.h>
#include <zephyr/fs/fs.h>
#include <zephyr/fs/littlefs.h>
#include <zephyr/storage/flash_map.h>
#include <zephyr/drivers/flash.h>
#include <string.h>

LOG_MODULE_REGISTER(persist, LOG_LEVEL_INF);

#define PERSIST_MOUNT_POINT "/lfs"
#define PERSIST_SENTINEL     PERSIST_MOUNT_POINT "/.mounted"

/* LittleFS configuration with moderate cache size */
FS_LITTLEFS_DECLARE_CUSTOM_CONFIG(app_storage, 32,
                                  32,   /* read_size */
                                  32,   /* prog_size */
                                  1024, /* cache_size - moderate size */
                                  32    /* lookahead_size */);

/* LittleFS mount point */
static struct fs_mount_t lfs_mnt = {
    .type = FS_LITTLEFS,
    .fs_data = &app_storage,
    .storage_dev = (void *)FIXED_PARTITION_ID(app_storage),
    .mnt_point = PERSIST_MOUNT_POINT,
};

static bool s_mounted = false;

/* Override block_size to smaller value than erase block */
static int override_block_size(void)
{
    app_storage.cfg.block_size = 4096;
    return 0;
}

static int ensure_sentinel(void)
{
    struct fs_dirent ent;
    int rc = fs_stat(PERSIST_SENTINEL, &ent);
    if (rc == 0 && ent.type == FS_DIR_ENTRY_FILE) {
        return 0;
    }

    static const char msg[] = "ok\n";
    struct fs_file_t f;
    fs_file_t_init(&f);
    rc = fs_open(&f, PERSIST_SENTINEL, FS_O_CREATE | FS_O_WRITE);
    if (rc) {
        LOG_WRN("sentinel open failed: %d", rc);
        return rc;
    }
    ssize_t wr = fs_write(&f, msg, sizeof(msg));
    fs_close(&f);
    if (wr < 0) {
        LOG_WRN("sentinel write failed: %d", (int)wr);
        return (int)wr;
    }
    return 0;
}

int persistence_init(void)
{
    if (!s_mounted) {
        int orc = override_block_size();
        if (orc < 0) {
            LOG_ERR("Failed to override block_size: %d", orc);
            return orc;
        }

        /* Log configuration for diagnostics */
        const struct device *flash_dev = DEVICE_DT_GET(DT_CHOSEN(zephyr_flash_controller));
        if (device_is_ready(flash_dev)) {
            const struct flash_parameters *params = flash_get_parameters(flash_dev);
            LOG_INF("flash geometry: write_block=%u erase=%u", 
                    (unsigned)params->write_block_size,
                    (unsigned)flash_get_write_block_size(flash_dev));
        }
        LOG_INF("lfs config: read=%u prog=%u cache=%u lookahead=%u",
                (unsigned)app_storage.cfg.read_size,
                (unsigned)app_storage.cfg.prog_size,
                (unsigned)app_storage.cfg.cache_size,
                (unsigned)app_storage.cfg.lookahead_size);

        /* Try mounting existing filesystem */
        int mrc = fs_mount(&lfs_mnt);
        if (mrc == 0) {
            LOG_INF("Mounted existing LittleFS");
            s_mounted = true;
            return ensure_sentinel();
        }

        /* Mount failed, format and try again */
        LOG_WRN("Mount failed: %d, formatting", mrc);
        int frc = fs_mkfs(FS_LITTLEFS, (uintptr_t)lfs_mnt.storage_dev, &app_storage.cfg, 0);
        if (frc < 0) {
            LOG_ERR("Format failed: %d", frc);
            return frc;
        }

        mrc = fs_mount(&lfs_mnt);
        if (mrc < 0) {
            LOG_ERR("Post-format mount failed: %d", mrc);
            return mrc;
        }

        LOG_INF("Successfully mounted fresh LittleFS");
        s_mounted = true;
        return ensure_sentinel();
    }
    return 0;
}

int persistence_write_value(const char *path, const void *data, size_t len)
{
    int rc = persistence_init();
    if (rc < 0) {
        return rc;
    }

    rc = settings_save_one(path, data, len);
    if (rc < 0) {
        LOG_WRN("Failed to write %s: %d", path, rc);
        return rc;
    }

    LOG_DBG("Wrote %zu bytes to %s", len, path);
    return 0;
}

int persistence_read_value(const char *path, void *data, size_t len, size_t *out_len)
{
    int rc = persistence_init();
    if (rc < 0) {
        return rc;
    }

    rc = settings_load_subtree(path);
    if (rc < 0) {
        LOG_WRN("Failed to load %s: %d", path, rc);
        return rc;
    }

    /* For now, return success with zero length */
    if (out_len) {
        *out_len = 0;
    }
    LOG_DBG("Read from %s", path);
    return 0;
}

void persistence_status_print(void)
{
    LOG_INF("=== Persistence Status ===");
    LOG_INF("Mounted: %s", s_mounted ? "yes" : "no");
    LOG_INF("Mount point: %s", PERSIST_MOUNT_POINT);
    
    if (s_mounted) {
        struct fs_statvfs stats;
        int rc = fs_statvfs(PERSIST_MOUNT_POINT, &stats);
        if (rc == 0) {
            LOG_INF("Free: %lu / %lu blocks",
                    (unsigned long)stats.f_bfree,
                    (unsigned long)stats.f_blocks);
        }

        struct fs_dirent ent;
        rc = fs_stat(PERSIST_SENTINEL, &ent);
        LOG_INF("Sentinel: %s", rc == 0 ? "present" : "missing");
    }
    LOG_INF("=========================");
}
```

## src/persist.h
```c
#pragma once

#include <stddef.h>

int persistence_init(void);
int persistence_write_value(const char *path, const void *data, size_t len);
int persistence_read_value(const char *path, void *data, size_t len, size_t *out_len);
void persistence_status_print(void);
```

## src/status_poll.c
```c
#include <zephyr/kernel.h>
#include <zephyr/init.h>
#include <zephyr/logging/log.h>
#include "l6470.h"
#include "status_poll.h"

LOG_MODULE_REGISTER(stepper_poll, LOG_LEVEL_INF);

#if defined(CONFIG_STEPPER_STATUS_POLL)

#define RING_DEPTH 32
static struct {
    uint16_t buf[RING_DEPTH];
    uint8_t head;
    uint8_t count;
} g_status_ring[L6470_DAISY_SIZE];

static struct k_work_delayable poll_work;
static bool g_poll_enabled = true;

static void ring_push(uint8_t dev, uint16_t st)
{
    struct { uint16_t *b; uint8_t *h; uint8_t *c; } r = { g_status_ring[dev].buf, &g_status_ring[dev].head, &g_status_ring[dev].count };
    r.b[*r.h] = st;
    *r.h = (uint8_t)((*r.h + 1) % RING_DEPTH);
    if (*r.c < RING_DEPTH) (*r.c)++;
}

static void poll_fn(struct k_work *work)
{
    ARG_UNUSED(work);
    if (g_poll_enabled) {
        uint16_t st[L6470_DAISY_SIZE] = {0};
        if (l6470_get_status_all(st) == 0) {
            for (uint8_t d = 0; d < L6470_DAISY_SIZE; d++) {
                ring_push(d, st[d]);
            }
        }
    }
    k_work_reschedule(&poll_work, K_MSEC(CONFIG_STEPPER_STATUS_POLL_PERIOD_MS));
}

static int poll_init(const struct device *unused)
{
    ARG_UNUSED(unused);
    k_work_init_delayable(&poll_work, poll_fn);
    k_work_schedule(&poll_work, K_MSEC(CONFIG_STEPPER_STATUS_POLL_PERIOD_MS));
    return 0;
}

SYS_INIT(poll_init, APPLICATION, 50);

#endif /* CONFIG_STEPPER_STATUS_POLL */

#if defined(CONFIG_STEPPER_STATUS_POLL)
void stepper_poll_set_enabled(bool en) { g_poll_enabled = en; }
bool stepper_poll_is_enabled(void) { return g_poll_enabled; }
uint8_t stepper_poll_get_recent(uint8_t dev, uint8_t n, uint16_t *out)
{
    if (dev >= L6470_DAISY_SIZE || !out || n == 0) return 0;
    uint8_t count = g_status_ring[dev].count;
    if (n > count) n = count;
    /* Pull most-recent first: head points to next write position */
    int idx = (int)g_status_ring[dev].head - 1;
    if (idx < 0) idx += RING_DEPTH;
    uint8_t wrote = 0;
    while (wrote < n) {
        out[wrote++] = g_status_ring[dev].buf[idx];
        idx = (idx - 1);
        if (idx < 0) idx += RING_DEPTH;
    }
    return wrote;
}
#endif
```

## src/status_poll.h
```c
#pragma once
#include <stdint.h>
#include <stdbool.h>

#if defined(CONFIG_STEPPER_STATUS_POLL)
/* Enable or disable the periodic status polling worker at runtime. */
void stepper_poll_set_enabled(bool en);
bool stepper_poll_is_enabled(void);

/* Copy up to `n` most-recent status samples for device `dev` into `out`.
 * Returns the number of samples written (<= n). Most-recent first.
 */
uint8_t stepper_poll_get_recent(uint8_t dev, uint8_t n, uint16_t *out);
#endif
```

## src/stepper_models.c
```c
#include "stepper_models_autogen.h"
#include <string.h>
#include <zephyr/logging/log.h>
#include <zephyr/init.h>
#include <zephyr/kernel.h>
#ifdef CONFIG_SETTINGS
#include <zephyr/settings/settings.h>
#endif
#if defined(CONFIG_SETTINGS_FILE) && defined(CONFIG_APP_LINK_WITH_FS)
#include "persist.h"
#else
/* In unit tests or when FS is not linked, provide a no-op stub so we don't
 * need to link the filesystem persistence module.
 */
static inline int persistence_init(void) { return 0; }
#endif

LOG_MODULE_DECLARE(l6470, LOG_LEVEL_INF);

static int active_model_idx[2] = {0, 0}; /* axis 0 and 1 */

/* Settings key: "stepper/active" stores two bytes: index for axis0 and axis1 */
static int stepper_settings_set(const char *name, size_t len_rd, settings_read_cb read_cb, void *cb_arg)
{
    ARG_UNUSED(cb_arg);
    if (strcmp(name, "active") != 0) {
        return -ENOENT;
    }
    if (len_rd != sizeof(active_model_idx)) {
        LOG_WRN("Unexpected settings length %zu for stepper/active", len_rd);
        return -EINVAL;
    }
    ssize_t rc = read_cb(cb_arg, (void *)active_model_idx, sizeof(active_model_idx));
    if (rc < 0) {
        LOG_ERR("Failed to read settings for stepper/active: %zd", rc);
        return rc;
    }
    LOG_INF("Loaded active models: axis0=%d axis1=%d", active_model_idx[0], active_model_idx[1]);
    return 0;
}

static struct settings_handler stepper_settings = {
    .name = "stepper",
    .h_set = stepper_settings_set,
};

int stepper_persist_active(void)
{
#ifdef CONFIG_SETTINGS
    int rc = settings_save_one("stepper/active", active_model_idx, sizeof(active_model_idx));
    if (rc == 0) {
        LOG_INF("Persisted active model indices");
    } else {
        LOG_ERR("Failed to persist active model indices: %d", rc);
    }
    return rc;
#else
    ARG_UNUSED(active_model_idx);
    LOG_WRN("Settings subsystem not enabled; cannot persist active models");
    return -ENOTSUP;
#endif
}

const stepper_model_t *stepper_get_model(unsigned int idx)
{
    if (idx >= stepper_model_count) return NULL;
    return &stepper_models[idx];
}

const stepper_model_t *stepper_get_active(unsigned int axis)
{
    if (axis >= 2) return NULL;
    return &stepper_models[active_model_idx[axis]];
}

int stepper_set_active_by_name(unsigned int axis, const char *name)
{
    if (axis >= 2) return -EINVAL;
    for (unsigned int i = 0; i < stepper_model_count; i++) {
        if (strcmp(stepper_models[i].name, name) == 0) {
            active_model_idx[axis] = i;
            LOG_INF("Active model for axis %u set to %s", axis, name);
            /* Persist selection asynchronously */
            stepper_persist_active();
            return 0;
        }
    }
    return -ENOENT;
}

unsigned int stepper_get_model_count(void)
{
    return stepper_model_count;
}

#ifdef CONFIG_SETTINGS
static int stepper_settings_init(void)
{
    /* If using the file backend, ensure FS is mounted before settings init. */
#if defined(CONFIG_SETTINGS_FILE) && defined(CONFIG_APP_LINK_WITH_FS)
    (void)persistence_init();
#endif
    settings_subsys_init();
    settings_register(&stepper_settings);
    /* Attempt to load settings; ignore errors so defaults remain intact */
    settings_load();
    return 0;
}

SYS_INIT(stepper_settings_init, APPLICATION, CONFIG_KERNEL_INIT_PRIORITY_DEFAULT);
#else
/* Settings not enabled: no-op init and persist is handled by stub above */
#endif
```

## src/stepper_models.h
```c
#pragma once
/* Pull the generated model typedefs and data (supports extended fields).
 * During IDE/static analysis the generated header may not exist yet; provide
 * a stub fallback so source files still compile for diagnostics.
 */
#if defined(__has_include)
#  if __has_include("stepper_models_autogen.h")
#    include "stepper_models_autogen.h"
#  else
#    define STEPPER_MODEL_EXTENDED 1
typedef struct {
	const char *name;
	int steps_per_rev;
	int max_speed;
	int max_current_ma;
	int max_microstep;
	float rated_voltage;
	float holding_torque;
	int use_microstep;
	int kval_run;
	int kval_acc;
	int kval_dec;
	int kval_hold;
	int ocd_thresh_ma;
	int stall_thresh_ma;
	int acc_sps2;
	int dec_sps2;
} stepper_model_t;
static const stepper_model_t stepper_models[] = {0};
static const unsigned int stepper_model_count = 0;
#  endif
#else
#  include "stepper_models_autogen.h"
#endif

const stepper_model_t *stepper_get_model(unsigned int idx);
const stepper_model_t *stepper_get_active(unsigned int axis);
int stepper_set_active_by_name(unsigned int axis, const char *name);
unsigned int stepper_get_model_count(void);
int stepper_persist_active(void);
```
